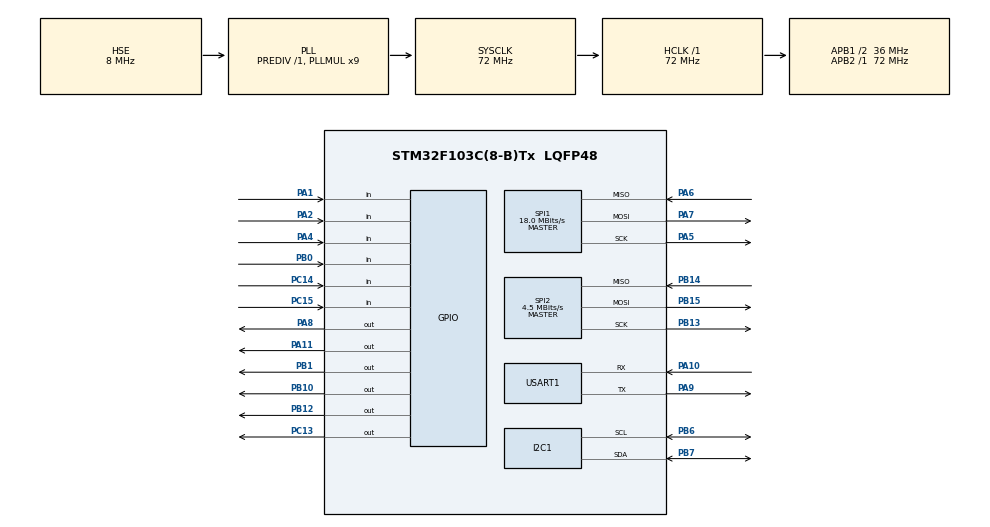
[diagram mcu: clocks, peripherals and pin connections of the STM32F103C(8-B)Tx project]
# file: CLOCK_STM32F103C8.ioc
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Mcu.Family=STM32F1
Mcu.Name=STM32F103C(8-B)Tx
Mcu.Package=LQFP48
NVIC.PriorityGroup=NVIC_PRIORITYGROUP_4
NVIC.SPI1_IRQn=true\:0\:0\:false\:false\:true\:true
NVIC.TIM2_IRQn=true\:0\:0\:false\:false\:true\:true
NVIC.USART1_IRQn=true\:0\:0\:false\:false\:true\:true
PA1.GPIO_PuPd=GPIO_PULLDOWN
PA1.Signal=GPIO_Input
PA10.Mode=Asynchronous
PA10.Signal=USART1_RX
PA11.Signal=GPIO_Output
PA13.Mode=Serial_Wire
PA13.Signal=SYS_JTMS-SWDIO
PA14.Mode=Serial_Wire
PA14.Signal=SYS_JTCK-SWCLK
PA2.GPIO_PuPd=GPIO_PULLDOWN
PA2.Signal=GPIO_Input
PA4.Signal=GPIO_Input
PA5.Mode=Full_Duplex_Master
PA5.Signal=SPI1_SCK
PA6.Mode=Full_Duplex_Master
PA6.Signal=SPI1_MISO
PA7.Mode=Full_Duplex_Master
PA7.Signal=SPI1_MOSI
PA8.Signal=GPIO_Output
PA9.Mode=Asynchronous
PA9.Signal=USART1_TX
PB0.Signal=GPIO_Input
PB1.Signal=GPIO_Output
PB10.Signal=GPIO_Output
PB12.Signal=GPIO_Output
PB13.Mode=Full_Duplex_Master
PB13.Signal=SPI2_SCK
PB14.Mode=Full_Duplex_Master
PB14.Signal=SPI2_MISO
PB15.Mode=Full_Duplex_Master
PB15.Signal=SPI2_MOSI
PB6.Mode=I2C
PB6.Signal=I2C1_SCL
PB7.Mode=I2C
PB7.Signal=I2C1_SDA
PC13-TAMPER-RTC.Signal=GPIO_Output
PC14-OSC32_IN.GPIO_PuPd=GPIO_PULLDOWN
PC14-OSC32_IN.Signal=GPIO_Input
PC15-OSC32_OUT.GPIO_PuPd=GPIO_PULLDOWN
PC15-OSC32_OUT.Signal=GPIO_Input
PD0-OSC_IN.Mode=HSE-External-Oscillator
PD0-OSC_IN.Signal=RCC_OSC_IN
PD1-OSC_OUT.Mode=HSE-External-Oscillator
PD1-OSC_OUT.Signal=RCC_OSC_OUT
ProjectManager.HeapSize=0x200
ProjectManager.StackSize=0x400
ProjectManager.TargetToolchain=MDK-ARM V5
RCC.AHBFreq_Value=72000000
RCC.APB1CLKDivider=RCC_HCLK_DIV2
RCC.APB1Freq_Value=36000000
RCC.APB1TimFreq_Value=72000000
RCC.APB2Freq_Value=72000000
RCC.APB2TimFreq_Value=72000000
RCC.HCLKFreq_Value=72000000
RCC.PLLMUL=RCC_PLL_MUL9
RCC.PLLSourceVirtual=RCC_PLLSOURCE_HSE
RCC.SYSCLKFreq_VALUE=72000000
RCC.SYSCLKSource=RCC_SYSCLKSOURCE_PLLCLK
RCC.USBFreq_Value=72000000
SPI1.BaudRatePrescaler=SPI_BAUDRATEPRESCALER_4
SPI1.CalculateBaudRate=18.0 MBits/s
SPI1.Direction=SPI_DIRECTION_2LINES
SPI1.Mode=SPI_MODE_MASTER
SPI1.VirtualType=VM_MASTER
SPI2.BaudRatePrescaler=SPI_BAUDRATEPRESCALER_8
SPI2.CalculateBaudRate=4.5 MBits/s
SPI2.Direction=SPI_DIRECTION_2LINES
SPI2.Mode=SPI_MODE_MASTER
SPI2.VirtualType=VM_MASTER
TIM2.Period=200
TIM2.Prescaler=36000
USART1.VirtualMode=VM_ASYNC
VP_TIM2_VS_ClockSourceINT.Mode=Internal
board=custom

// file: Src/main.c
/**
  ******************************************************************************
  * @file           : main.c
  * @brief          : Main program body
  ******************************************************************************
  ** This notice applies to any and all portions of this file
  * that are not between comment pairs USER CODE BEGIN and
  * USER CODE END. Other portions of this file, whether
  * inserted by the user or by software development tools
  * are owned by their respective copyright owners.
  *
  * COPYRIGHT(c) 2019 STMicroelectronics
  *
  * Redistribution and use in source and binary forms, with or without modification,
  * are permitted provided that the following conditions are met:
  *   1. Redistributions of source code must retain the above copyright notice,
  *      this list of conditions and the following disclaimer.
  *   2. Redistributions in binary form must reproduce the above copyright notice,
  *      this list of conditions and the following disclaimer in the documentation
  *      and/or other materials provided with the distribution.
  *   3. Neither the name of STMicroelectronics nor the names of its contributors
  *      may be used to endorse or promote products derived from this software
  *      without specific prior written permission.
  *
  * THIS SOFTWARE IS PROVIDED BY THE COPYRIGHT HOLDERS AND CONTRIBUTORS "AS IS"
  * AND ANY EXPRESS OR IMPLIED WARRANTIES, INCLUDING, BUT NOT LIMITED TO, THE
  * IMPLIED WARRANTIES OF MERCHANTABILITY AND FITNESS FOR A PARTICULAR PURPOSE ARE
  * DISCLAIMED. IN NO EVENT SHALL THE COPYRIGHT HOLDER OR CONTRIBUTORS BE LIABLE
  * FOR ANY DIRECT, INDIRECT, INCIDENTAL, SPECIAL, EXEMPLARY, OR CONSEQUENTIAL
  * DAMAGES (INCLUDING, BUT NOT LIMITED TO, PROCUREMENT OF SUBSTITUTE GOODS OR
  * SERVICES; LOSS OF USE, DATA, OR PROFITS; OR BUSINESS INTERRUPTION) HOWEVER
  * CAUSED AND ON ANY THEORY OF LIABILITY, WHETHER IN CONTRACT, STRICT LIABILITY,
  * OR TORT (INCLUDING NEGLIGENCE OR OTHERWISE) ARISING IN ANY WAY OUT OF THE USE
  * OF THIS SOFTWARE, EVEN IF ADVISED OF THE POSSIBILITY OF SUCH DAMAGE.
  *
  ******************************************************************************
  */
#include "main.h"
#include "stm32f1xx_hal.h"

/* USER CODE BEGIN Includes */
//#include "CLOCK_DS3231.h"
#include "stm32f1xx_hal.h"
#include "ILI9341_STM32_Driver.h"
#include "ILI9341_GFX.h"
#include "NRF24.h"
#include <string.h>
#include "DHT22.h"

/* USER CODE END Includes */

I2C_HandleTypeDef hi2c1;

SPI_HandleTypeDef hspi1;
SPI_HandleTypeDef hspi2;

TIM_HandleTypeDef htim2;

UART_HandleTypeDef huart1;

/* USER CODE BEGIN PV */
/* Private variables ---------------------------------------------------------*/

// Variabble for MEMS sensors.--------------------------------------------
// Oudoor sensor
float T_outdoor=0;
uint16_t H_outdoor=100;
// Indoor sensor
float T_indoor=-55;
uint16_t H_indoor=100;
uint32_t P=999;
//------------------------------------------------------------------------

// Variabble for NRF------------------------------------------------------
//uint8_t dt_reg=0;
//uint8_t retr_cnt, dt;
//uint16_t i=1; //****************************************
//uint16_t retr_cnt_full;
char str1[150]={0};
uint8_t buf1[20]={0};
//-------------------------------------------------------------------------

// Variabble for botton----------------------------------------------------
int STATUS_BUTTON_PRESS=1;
int STATUS_BUTTON_NOT_PRESS=0;
// Init buttons. It buttons read in interrupt.
int button_1=0;
int button_2=0;
int button_3=0;
int button_4=0;
//------------------------------------------------------------------------

// Variabble for print data in LCD----------------------------------------
uint8_t size_uart=0;
char str3[35]={0};
uint8_t size_mas=sizeof(str3);
uint8_t i=0;   // problem variabble
//------------------------------------------------------------------------

// Variabble for work with comport----------------------------------------
char str_UART[10]="";				// Value for print all data in COM Port
char str_LCD[20]={0};				// Value for print all data in LCD
char str_LCD_CLAER[20]={0};	// Value for clear two item in LCD
char str_uatr[10]="";			  // Befer for UART DATA
uint8_t size=0; 						// Size UART bufer
//------------------------------------------------------------------------

// Value for change clock-------------------------------------------------
// Max and min value for clock setings.
uint8_t max_value_SEC=59;
uint8_t min_value_SEC=0;
uint8_t max_value_MINUTE=59;
uint8_t min_value_MINUTE=0;
uint8_t max_value_HOURS=23;
uint8_t min_value_HOURS=0;
uint8_t max_value_DAYS=7;
uint8_t min_value_DAYS=1;
uint8_t max_value_DATA=31;
uint8_t min_value_DATA=1;
uint8_t max_value_MOUNTH=12;
uint8_t min_value_MOUNTH=1;
uint8_t max_value_YEAR=99;
uint8_t min_value_YEAR=0;
// Variabble for read data from DS3231 module
extern uint8_t sec;
extern uint8_t min;
extern uint8_t hour;
extern uint8_t day;
extern uint8_t date;
extern uint8_t month;
extern uint8_t year;
//--------------------------------------------------------------------------

int blinking_LCD=200;				// Time blincing LCD
int optimization_ON=1;
int optimization_OFF=0;

/* USER CODE END PV */

void SystemClock_Config(void);
static void MX_GPIO_Init(void);
static void MX_USART1_UART_Init(void);
static void MX_I2C1_Init(void);
static void MX_SPI1_Init(void);
static void MX_TIM2_Init(void);
static void MX_SPI2_Init(void);

/* USER CODE BEGIN PFP */
/* Private function prototypes -----------------------------------------------*/
// LCD private function prototypes
void init_LCD_ILI9341(void);  											// Writes geometric figures in LCD for T, H and P.
void print_data_on_LCD(int optimization);
void select_seconds(void);
void select_minutes(void);
void select_hours(void);
void select_days(void);
void select_dates(void);
void select_month(void);
void select_year(void);
void print_colon_in_LCD(void);
void print_clear_colon_in_LCD(void);
void print_seconds_in_LCD(void);
void print_minutes_in_LCD(void);
void print_hours_in_LCD(void);
void print_days_in_LCD(void);
void print_dates_in_LCD(void);
void print_months_in_LCD(void);
void print_year_in_LCD(void);
void print_MEMS_in_LCD(void);
// DS3231 private function prototypes
void start_init_DS3231(void);												// Start init DS3231 (not use)
void read_data_from_DS3231(void);										// Read data from DS3231 clock modul, and read it in global variabble.
uint8_t WRITE_DATA(uint8_t reg, uint8_t data);			// Write data(sec, hour .. in DS3231 module)
uint8_t RTC_ConvertFromDec(uint8_t c);
uint8_t RTC_ConvertFromBinDec(uint8_t c);
// BME280 private function prototypes
void init_BME280(void);															// Start init BME280.
void read_data_BME280(void);												// Read data from BME280 and calculate temperature, humidity and preasure.
// I2C private function prototypes
void I2C_scaner(void);															// Scan all devaise connected to I2C.
// NRF24 private function prototypes
void NRF24_receive_data_from_oudor(void);
void NRF24L01_Receive(void);
//
void DHT22_test(void);
void port_init(void);
uint8_t DHD22_init(void);
uint8_t DHD22_GetData(void);
/* USER CODE END PFP */

int main(void)
{

  /* MCU Configuration----------------------------------------------------------*/

  /* Reset of all peripherals, Initializes the Flash interface and the Systick. */
  HAL_Init();

  /* Configure the system clock */
  SystemClock_Config();

  /* Initialize all configured peripherals */
  MX_GPIO_Init();
  MX_USART1_UART_Init();
  MX_I2C1_Init();
  MX_SPI1_Init();
  MX_TIM2_Init();
  MX_SPI2_Init();
  /* USER CODE BEGIN 2 */
  //init_DS3231(11, 11, 11, 1, 11, 11);

	//HAL_Delay(3000);
	//I2C_scaner();
	//HAL_Delay(3000);
	//HAL_TIM_Base_Init(&htim2);
  /* USER CODE END 2 */

  /* Infinite loop */
  /* USER CODE BEGIN WHILE */

	NRF24_ini();

	HAL_TIM_Base_Start_IT(&htim2);
	//start_init_DS3231();
	init_LCD_ILI9341();
	init_BME280();
	read_data_BME280();
	read_data_from_DS3231();
	print_data_on_LCD(optimization_OFF);

  while (1)
  {
		  NRF24_receive_data_from_oudor();     //test read data from module
		  //DHT22_test();
			HAL_Delay(950);
			read_data_BME280();
			read_data_from_DS3231();
			print_data_on_LCD(optimization_ON);
			// SELECT
			uint8_t d=0;
			if(button_1==STATUS_BUTTON_PRESS)      // Go in meny
			{
					 uint8_t status=1;
					 while(status)	// Do it during  when button button_1 don't press
					 {
								HAL_Delay(500);
								if(button_1==STATUS_BUTTON_PRESS)					// Check press  menu  button.
								{
										d++;
										if(d==9)															// Max qalety item in menu.
										{
												d=0;
										}
								}
								switch (d)    											 			// Switch what set
								{
										case 1:
										 select_seconds();
										break;

										case 2:
										 select_minutes();
										break;

										case 3:
										 select_hours();
										 break;

										case 4:
										 select_days();
										 break;

										case 5:
										 select_dates();
										 break;

										case 6:
										 select_month();
										 break;

										case 7:
										 select_year();
										 break;

										case 8:
										 status=0;
										 break;
								}

								// EXIT FROM SETTINGS
								if(button_4==STATUS_BUTTON_PRESS)	   // EXIT
								{
											status=0;
											ILI9341_Draw_Filled_Rectangle_Coord(0, 0, 340, 150, BLACK);		// Clear LCD
											read_data_from_DS3231();
											print_data_on_LCD(optimization_OFF);
								}
				}
	}

  /* USER CODE END WHILE */

  }

}

void SystemClock_Config(void)
{

  RCC_OscInitTypeDef RCC_OscInitStruct;
  RCC_ClkInitTypeDef RCC_ClkInitStruct;

    /**Initializes the CPU, AHB and APB busses clocks
    */
  RCC_OscInitStruct.OscillatorType = RCC_OSCILLATORTYPE_HSE;
  RCC_OscInitStruct.HSEState = RCC_HSE_ON;
  RCC_OscInitStruct.HSEPredivValue = RCC_HSE_PREDIV_DIV1;
  RCC_OscInitStruct.HSIState = RCC_HSI_ON;
  RCC_OscInitStruct.PLL.PLLState = RCC_PLL_ON;
  RCC_OscInitStruct.PLL.PLLSource = RCC_PLLSOURCE_HSE;
  RCC_OscInitStruct.PLL.PLLMUL = RCC_PLL_MUL9;
  if (HAL_RCC_OscConfig(&RCC_OscInitStruct) != HAL_OK)
  {
    _Error_Handler(__FILE__, __LINE__);
  }

    /**Initializes the CPU, AHB and APB busses clocks
    */
  RCC_ClkInitStruct.ClockType = RCC_CLOCKTYPE_HCLK|RCC_CLOCKTYPE_SYSCLK
                              |RCC_CLOCKTYPE_PCLK1|RCC_CLOCKTYPE_PCLK2;
  RCC_ClkInitStruct.SYSCLKSource = RCC_SYSCLKSOURCE_PLLCLK;
  RCC_ClkInitStruct.AHBCLKDivider = RCC_SYSCLK_DIV1;
  RCC_ClkInitStruct.APB1CLKDivider = RCC_HCLK_DIV2;
  RCC_ClkInitStruct.APB2CLKDivider = RCC_HCLK_DIV1;

  if (HAL_RCC_ClockConfig(&RCC_ClkInitStruct, FLASH_LATENCY_2) != HAL_OK)
  {
    _Error_Handler(__FILE__, __LINE__);
  }

    /**Configure the Systick interrupt time
    */
  HAL_SYSTICK_Config(HAL_RCC_GetHCLKFreq()/1000);

    /**Configure the Systick
    */
  HAL_SYSTICK_CLKSourceConfig(SYSTICK_CLKSOURCE_HCLK);

  /* SysTick_IRQn interrupt configuration */
  HAL_NVIC_SetPriority(SysTick_IRQn, 0, 0);
}

/* I2C1 init function */
static void MX_I2C1_Init(void)
{

  hi2c1.Instance = I2C1;
  hi2c1.Init.ClockSpeed = 100000;
  hi2c1.Init.DutyCycle = I2C_DUTYCYCLE_2;
  hi2c1.Init.OwnAddress1 = 0;
  hi2c1.Init.AddressingMode = I2C_ADDRESSINGMODE_7BIT;
  hi2c1.Init.DualAddressMode = I2C_DUALADDRESS_DISABLE;
  hi2c1.Init.OwnAddress2 = 0;
  hi2c1.Init.GeneralCallMode = I2C_GENERALCALL_DISABLE;
  hi2c1.Init.NoStretchMode = I2C_NOSTRETCH_DISABLE;
  if (HAL_I2C_Init(&hi2c1) != HAL_OK)
  {
    _Error_Handler(__FILE__, __LINE__);
  }

}

/* SPI1 init function */
static void MX_SPI1_Init(void)
{

  /* SPI1 parameter configuration*/
  hspi1.Instance = SPI1;
  hspi1.Init.Mode = SPI_MODE_MASTER;
  hspi1.Init.Direction = SPI_DIRECTION_2LINES;
  hspi1.Init.DataSize = SPI_DATASIZE_8BIT;
  hspi1.Init.CLKPolarity = SPI_POLARITY_LOW;
  hspi1.Init.CLKPhase = SPI_PHASE_1EDGE;
  hspi1.Init.NSS = SPI_NSS_SOFT;
  hspi1.Init.BaudRatePrescaler = SPI_BAUDRATEPRESCALER_4;
  hspi1.Init.FirstBit = SPI_FIRSTBIT_MSB;
  hspi1.Init.TIMode = SPI_TIMODE_DISABLE;
  hspi1.Init.CRCCalculation = SPI_CRCCALCULATION_DISABLE;
  hspi1.Init.CRCPolynomial = 10;
  if (HAL_SPI_Init(&hspi1) != HAL_OK)
  {
    _Error_Handler(__FILE__, __LINE__);
  }

}

/* SPI2 init function */
static void MX_SPI2_Init(void)
{

  /* SPI2 parameter configuration*/
  hspi2.Instance = SPI2;
  hspi2.Init.Mode = SPI_MODE_MASTER;
  hspi2.Init.Direction = SPI_DIRECTION_2LINES;
  hspi2.Init.DataSize = SPI_DATASIZE_8BIT;
  hspi2.Init.CLKPolarity = SPI_POLARITY_LOW;
  hspi2.Init.CLKPhase = SPI_PHASE_1EDGE;
  hspi2.Init.NSS = SPI_NSS_SOFT;
  hspi2.Init.BaudRatePrescaler = SPI_BAUDRATEPRESCALER_8;
  hspi2.Init.FirstBit = SPI_FIRSTBIT_MSB;
  hspi2.Init.TIMode = SPI_TIMODE_DISABLE;
  hspi2.Init.CRCCalculation = SPI_CRCCALCULATION_DISABLE;
  hspi2.Init.CRCPolynomial = 10;
  if (HAL_SPI_Init(&hspi2) != HAL_OK)
  {
    _Error_Handler(__FILE__, __LINE__);
  }

}

/* TIM2 init function */
static void MX_TIM2_Init(void)
{

  TIM_ClockConfigTypeDef sClockSourceConfig;
  TIM_MasterConfigTypeDef sMasterConfig;

  htim2.Instance = TIM2;
  htim2.Init.Prescaler = 36000;
  htim2.Init.CounterMode = TIM_COUNTERMODE_UP;
  htim2.Init.Period = 200;
  htim2.Init.ClockDivision = TIM_CLOCKDIVISION_DIV1;
  htim2.Init.AutoReloadPreload = TIM_AUTORELOAD_PRELOAD_DISABLE;
  if (HAL_TIM_Base_Init(&htim2) != HAL_OK)
  {
    _Error_Handler(__FILE__, __LINE__);
  }

  sClockSourceConfig.ClockSource = TIM_CLOCKSOURCE_INTERNAL;
  if (HAL_TIM_ConfigClockSource(&htim2, &sClockSourceConfig) != HAL_OK)
  {
    _Error_Handler(__FILE__, __LINE__);
  }

  sMasterConfig.MasterOutputTrigger = TIM_TRGO_RESET;
  sMasterConfig.MasterSlaveMode = TIM_MASTERSLAVEMODE_DISABLE;
  if (HAL_TIMEx_MasterConfigSynchronization(&htim2, &sMasterConfig) != HAL_OK)
  {
    _Error_Handler(__FILE__, __LINE__);
  }

}

/* USART1 init function */
static void MX_USART1_UART_Init(void)
{

  huart1.Instance = USART1;
  huart1.Init.BaudRate = 115200;
  huart1.Init.WordLength = UART_WORDLENGTH_8B;
  huart1.Init.StopBits = UART_STOPBITS_1;
  huart1.Init.Parity = UART_PARITY_NONE;
  huart1.Init.Mode = UART_MODE_TX_RX;
  huart1.Init.HwFlowCtl = UART_HWCONTROL_NONE;
  huart1.Init.OverSampling = UART_OVERSAMPLING_16;
  if (HAL_UART_Init(&huart1) != HAL_OK)
  {
    _Error_Handler(__FILE__, __LINE__);
  }

}

/** Configure pins as
        * Analog
        * Input
        * Output
        * EVENT_OUT
        * EXTI
*/
static void MX_GPIO_Init(void)
{

  GPIO_InitTypeDef GPIO_InitStruct;

  /* GPIO Ports Clock Enable */
  __HAL_RCC_GPIOC_CLK_ENABLE();
  __HAL_RCC_GPIOD_CLK_ENABLE();
  __HAL_RCC_GPIOA_CLK_ENABLE();
  __HAL_RCC_GPIOB_CLK_ENABLE();

  /*Configure GPIO pin Output Level */
  HAL_GPIO_WritePin(GPIOC, GPIO_PIN_13, GPIO_PIN_RESET);

  /*Configure GPIO pin Output Level */
  HAL_GPIO_WritePin(GPIOB, GPIO_PIN_1|GPIO_PIN_10|GPIO_PIN_12, GPIO_PIN_RESET);

  /*Configure GPIO pin Output Level */
  HAL_GPIO_WritePin(GPIOA, GPIO_PIN_8|GPIO_PIN_11, GPIO_PIN_RESET);

  /*Configure GPIO pin : PC13 */
  GPIO_InitStruct.Pin = GPIO_PIN_13;
  GPIO_InitStruct.Mode = GPIO_MODE_OUTPUT_PP;
  GPIO_InitStruct.Pull = GPIO_NOPULL;
  GPIO_InitStruct.Speed = GPIO_SPEED_FREQ_LOW;
  HAL_GPIO_Init(GPIOC, &GPIO_InitStruct);

  /*Configure GPIO pins : PC14 PC15 */
  GPIO_InitStruct.Pin = GPIO_PIN_14|GPIO_PIN_15;
  GPIO_InitStruct.Mode = GPIO_MODE_INPUT;
  GPIO_InitStruct.Pull = GPIO_PULLDOWN;
  HAL_GPIO_Init(GPIOC, &GPIO_InitStruct);

  /*Configure GPIO pins : PA1 PA2 */
  GPIO_InitStruct.Pin = GPIO_PIN_1|GPIO_PIN_2;
  GPIO_InitStruct.Mode = GPIO_MODE_INPUT;
  GPIO_InitStruct.Pull = GPIO_PULLDOWN;
  HAL_GPIO_Init(GPIOA, &GPIO_InitStruct);

  /*Configure GPIO pin : PA4 */
  GPIO_InitStruct.Pin = GPIO_PIN_4;
  GPIO_InitStruct.Mode = GPIO_MODE_INPUT;
  GPIO_InitStruct.Pull = GPIO_NOPULL;
  HAL_GPIO_Init(GPIOA, &GPIO_InitStruct);

  /*Configure GPIO pin : PB0 */
  GPIO_InitStruct.Pin = GPIO_PIN_0;
  GPIO_InitStruct.Mode = GPIO_MODE_INPUT;
  GPIO_InitStruct.Pull = GPIO_NOPULL;
  HAL_GPIO_Init(GPIOB, &GPIO_InitStruct);

  /*Configure GPIO pins : PB1 PB10 PB12 */
  GPIO_InitStruct.Pin = GPIO_PIN_1|GPIO_PIN_10|GPIO_PIN_12;
  GPIO_InitStruct.Mode = GPIO_MODE_OUTPUT_PP;
  GPIO_InitStruct.Pull = GPIO_NOPULL;
  GPIO_InitStruct.Speed = GPIO_SPEED_FREQ_LOW;
  HAL_GPIO_Init(GPIOB, &GPIO_InitStruct);

  /*Configure GPIO pins : PA8 PA11 */
  GPIO_InitStruct.Pin = GPIO_PIN_8|GPIO_PIN_11;
  GPIO_InitStruct.Mode = GPIO_MODE_OUTPUT_PP;
  GPIO_InitStruct.Pull = GPIO_NOPULL;
  GPIO_InitStruct.Speed = GPIO_SPEED_FREQ_LOW;
  HAL_GPIO_Init(GPIOA, &GPIO_InitStruct);

}

/* USER CODE BEGIN 4 */

void DHT22_test(void)
{
	   port_init();
	   uint8_t status=3;
	   DHD22_init();
	   DHD22_GetData();

//

		// 1. Generate start signal. Must make output.
	   //HAL_GPIO_WritePin(GPIOA, GPIO_PIN_4, GPIO_PIN_RESET);
	   //GPIOA->ODR|=100;
	   //GPIO_InitStruct.Pull = GPIO_PULLDOWN;
	   //GPIOA -> ODR |= GPIO_PIN_4;
//	   HAL_GPIO_DeInit(GPIOA, GPIO_PIN_4);
//     GPIOA->CRH |= GPIO_CRH_MODE11;
//     GPIOA->CRH |= GPIO_CRH_CNF11_0;
//     GPIOA->CRH &= ~GPIO_CRH_CNF11_1;
//
//	   GPIOA->ODR &= ~GPIO_ODR_ODR4;
//	   HAL_Delay(1000);
//	   GPIOA->ODR |= GPIO_ODR_ODR4;
//	   HAL_Delay(1000);

//	   HAL_GPIO_WritePin(GPIOA, GPIO_PIN_4, GPIO_PIN_RESET);
//	   HAL_Delay(2000);
//		 HAL_GPIO_WritePin(GPIOA, GPIO_PIN_4, GPIO_PIN_SET);
//	   HAL_Delay(2000);
}

void NRF24_receive_data_from_oudor(void)
{
		NRF24L01_Receive();
}

/* USER CODE END 4 */

void _Error_Handler(char *file, int line)
{
  while(1)
  {
  }
}

/************************ (C) COPYRIGHT STMicroelectronics *****END OF FILE****/
